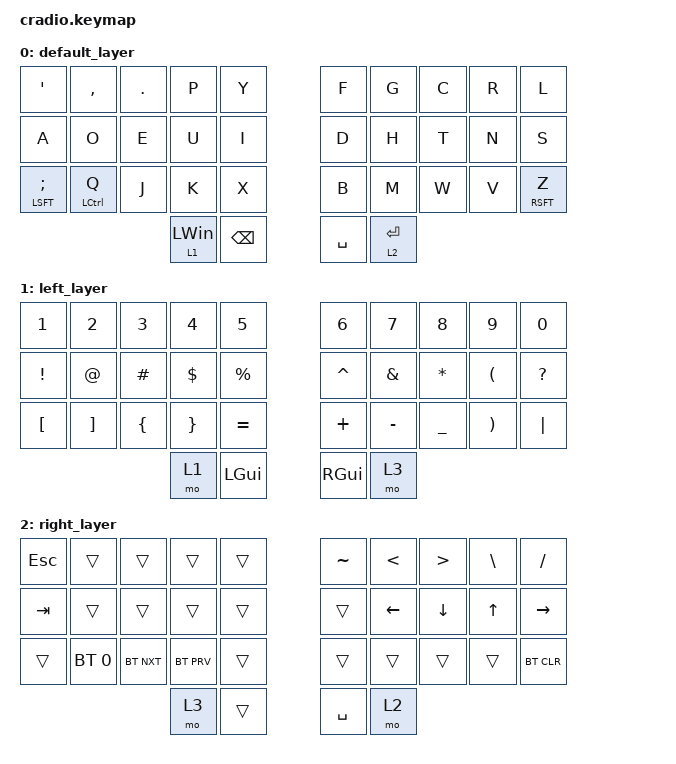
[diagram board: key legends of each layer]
/*
 * Copyright (c) 2020 The ZMK Contributors
 * test
 * SPDX-License-Identifier: MIT
 */

#include <behaviors.dtsi>
#include <dt-bindings/zmk/keys.h>
#include <dt-bindings/zmk/bt.h>


&mt {
  //  flavor = "tap-preferred";
   // tapping_term_ms = <200>;
};

/ { 

    combos {
        compatible = "zmk,combos";

        

        
    };

        keymap {
                compatible = "zmk,keymap";
                
       		default_layer {
		bindings = <
		&kp APOS &kp COMMA &kp DOT &kp P &kp Y 					   	&kp F &kp G  &kp C    &kp R   &kp L 
		&kp A &kp O &kp E &kp U &kp I 			                    &kp D &kp H  &kp T    &kp N   &kp S
		&mt LSFT SEMI &mt LCTRL Q &kp J &kp K &kp X				        &kp B &kp M  &kp W &kp V &mt RSFT Z
          				&lt 1 LWIN &kp BSPC  				&kp SPC &lt 2 ENTER 
		>;
		};

       		left_layer {
		bindings = <
		&kp NUM_1  &kp NUM_2  &kp NUM_3   &kp NUM_4   &kp NUM_5		  &kp NUM_6 &kp NUM_7 &kp NUM_8 &kp NUM_9 &kp NUM_0 
		&kp EXCL    &kp AT    &kp HASH    &kp DLLR    &kp PRCNT 		&kp CARET &kp AMPS  &kp STAR &kp LPAR  &kp QMARK 
		&kp LBKT    &kp RBKT &kp LBRC &kp RBRC  &kp EQUAL 	          &kp PLUS &kp MINUS &kp UNDER &kp RPAR  &kp PIPE 
					    &mo 1  &kp LGUI  					&kp RGUI &mo 3 
		>;
		};
		
		right_layer {
		bindings = <
		&kp ESC &trans &trans  &trans  &trans    			      &kp TILDE &kp LT &kp GT &kp BSLH &kp FSLH
		&kp TAB &trans  &trans  &trans  &trans 	  		          &trans  &kp LEFT &kp DOWN &kp UP  &kp RIGHT
		&trans &bt BT_SEL 0 &bt BT_NXT &bt BT_PRV &trans        &trans  &trans   &trans   &trans  &bt BT_CLR
					  &mo 3 &trans  				&kp SPC  &mo 2 
		>;
		};	
		
        
	};
};
